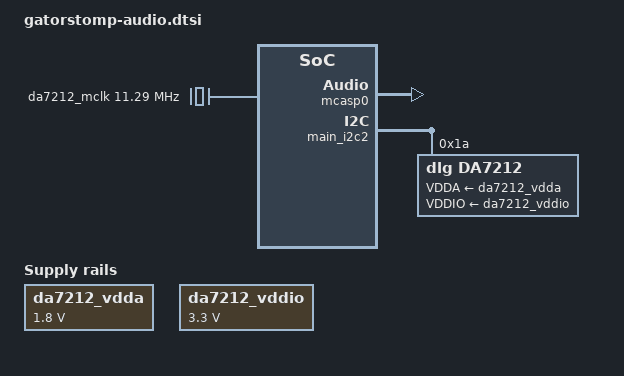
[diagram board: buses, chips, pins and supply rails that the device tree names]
/* GatorStomp DA7212 Audio Configuration */

/* McASP0 pin multiplexing */
&main_pmx0 {
    gatorstomp_mcasp0_pins: gatorstomp-mcasp0-pins {
        pinctrl-single,pins = <
            AM62X_IOPAD(0x0194, PIN_INPUT,  0) /* B19 - P1.10 - AXR3 RX */
            AM62X_IOPAD(0x0198, PIN_OUTPUT, 0) /* A19 - P1.12 - AXR2 TX */
            AM62X_IOPAD(0x01A4, PIN_INPUT,  0) /* B20 - P2.01 - ACLKX */
            AM62X_IOPAD(0x01A8, PIN_INPUT,  0) /* D20 - P1.04 - AFSX */

            /* Disable other balls sharing these headers */
            AM62X_IOPAD(0x01F0, PIN_DISABLE, 7) /* A18  - P1.10 */
            AM62X_IOPAD(0x013C, PIN_DISABLE, 7) /* AE18 - P1.12 */
            AM62X_IOPAD(0x0160, PIN_DISABLE, 7) /* AD24 - P2.01 */
            AM62X_IOPAD(0x016C, PIN_DISABLE, 7) /* Y18  - P1.04 */
        >;
    };
};

/* McASP0 audio controller */
&mcasp0 {
    pinctrl-names = "default";
    pinctrl-0 = <&gatorstomp_mcasp0_pins>;  /* Reference the pin group created above */

    op-mode = <0>;          /* I2S mode */
    serial-dir = <0 0 1 2>; /* AXR2 TX, AXR3 RX */
    tdm-slots = <2>;        /* Stereo */
    #sound-dai-cells = <0>;

    status = "okay";
};

/* DA7212 audio codec */
&main_i2c2 {
    status = "okay";

    da7212: audio-codec@1a {
        compatible = "dlg,da7212";  /* Let's use the driver software we configured in .cfg file*/
        reg = <0x1a>;
        #sound-dai-cells = <0>;
        clocks = <&da7212_mclk>;
        clock-names = "mclk";

        /* Sets the expected voltage supply */
        VDDA-supply = <&da7212_vdda>;
        VDDIO-supply = <&da7212_vddio>;

        status = "okay";
    };
};

/* GatorStomp sound card */
/* Connects the CPU to the Codec through their pins */
/ {
    gatorstomp_sound: sound-gatorstomp {
        compatible = "simple-audio-card";
        simple-audio-card,name = "GatorStomp";
        simple-audio-card,format = "i2s";

        /* Grab the BCLK and LRCLK from the Codex to the processor */
        simple-audio-card,bitclock-master = <&gatorstomp_codec>;
        simple-audio-card,frame-master = <&gatorstomp_codec>;

        status = "okay";

        gatorstomp_cpu: simple-audio-card,cpu {
            sound-dai = <&mcasp0>;
        };

        gatorstomp_codec: simple-audio-card,codec {
            sound-dai = <&da7212>;
        };
    };
};

/* DA7212 onboard master clock */
/ {
    da7212_mclk: da7212-mclk {
        compatible = "fixed-clock";
        #clock-cells = <0>;
        clock-frequency = <11289600>;
    };
};

/* DA7212 onboard voltage regulators */
/ {
    da7212_vdda: regulator-da7212-vdda {
        compatible = "regulator-fixed";
        regulator-name = "DA7212_VDDA"; /* requires 1.8V as shown below */
        regulator-min-microvolt = <1800000>;
        regulator-max-microvolt = <1800000>;
        regulator-always-on;
    };

    da7212_vddio: regulator-da7212-vddio {
        compatible = "regulator-fixed";
        regulator-name = "DA7212_VDDIO";    /* Maybe does 3.3V as shown below */
        regulator-min-microvolt = <3300000>;
        regulator-max-microvolt = <3300000>;
        regulator-always-on;
    };
};

/* Release P2.01 for McASP0 */
&ecap2 {
    status = "disabled";
};

/* Release UART1 pins for McASP0 audio */
&main_uart1 {
    status = "disabled";
};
